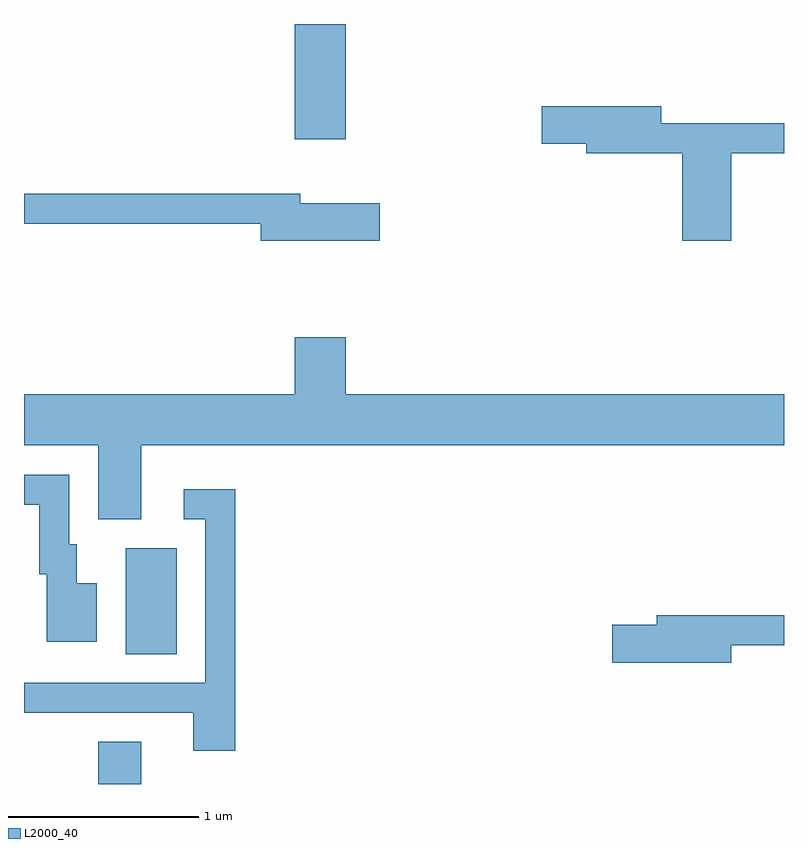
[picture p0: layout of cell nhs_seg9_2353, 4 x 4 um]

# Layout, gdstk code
import gdstk
lib = gdstk.Library(unit=1e-6, precision=1e-09)
def R(c, l, rs):  # rectangles x0, y0, x1, y1
    for r in rs: c.add(gdstk.rectangle(r[:2], r[2:], *l))
def P(c, l, *ps):  # polygons
    for p in ps: c.add(gdstk.Polygon(p, *l))
L2000_40 = (2000, 40)

nhs_seg9_2353 = lib.new_cell('nhs_seg9_2353')
R(nhs_seg9_2353, L2000_40, [(254.001,2034.432,254.229,2034.654), (254.146,2035.116,254.414,2035.674), (255.036,2037.826,255.304,2038.432)])
P(nhs_seg9_2353, L2000_40, [(257.334,2037.751),(257.611,2037.751),(257.611,2037.909),(256.964,2037.909),(256.964,2037.999),(256.336,2037.999),(256.336,2037.801),(256.571,2037.801),(256.571,2037.751),(257.076,2037.751),(257.076,2037.291),(257.334,2037.291)],
  [(255.484,2037.489),(255.064,2037.489),(255.064,2037.539),(253.611,2037.539),(253.611,2037.381),(254.856,2037.381),(254.856,2037.291),(255.484,2037.291)],
  [(254.229,2036.216),(257.611,2036.216),(257.611,2036.484),(255.304,2036.484),(255.304,2036.784),(255.036,2036.784),(255.036,2036.484),(253.611,2036.484),(253.611,2036.216),(254.001,2036.216),(254.001,2035.826),(254.229,2035.826)],
  [(253.994,2035.489),(253.889,2035.489),(253.889,2035.694),(253.849,2035.694),(253.849,2036.059),(253.611,2036.059),(253.611,2035.901),(253.691,2035.901),(253.691,2035.536),(253.731,2035.536),(253.731,2035.181),(253.994,2035.181)],
  [(254.724,2035.984),(254.453,2035.984),(254.453,2035.826),(254.566,2035.826),(254.566,2034.964),(253.611,2034.964),(253.611,2034.806),(254.501,2034.806),(254.501,2034.606),(254.724,2034.606)],
  [(257.334,2035.161),(257.611,2035.161),(257.611,2035.319),(256.941,2035.319),(256.941,2035.269),(256.706,2035.269),(256.706,2035.071),(257.334,2035.071)])

lib.write_gds('nhs_seg9_2353.gds')
